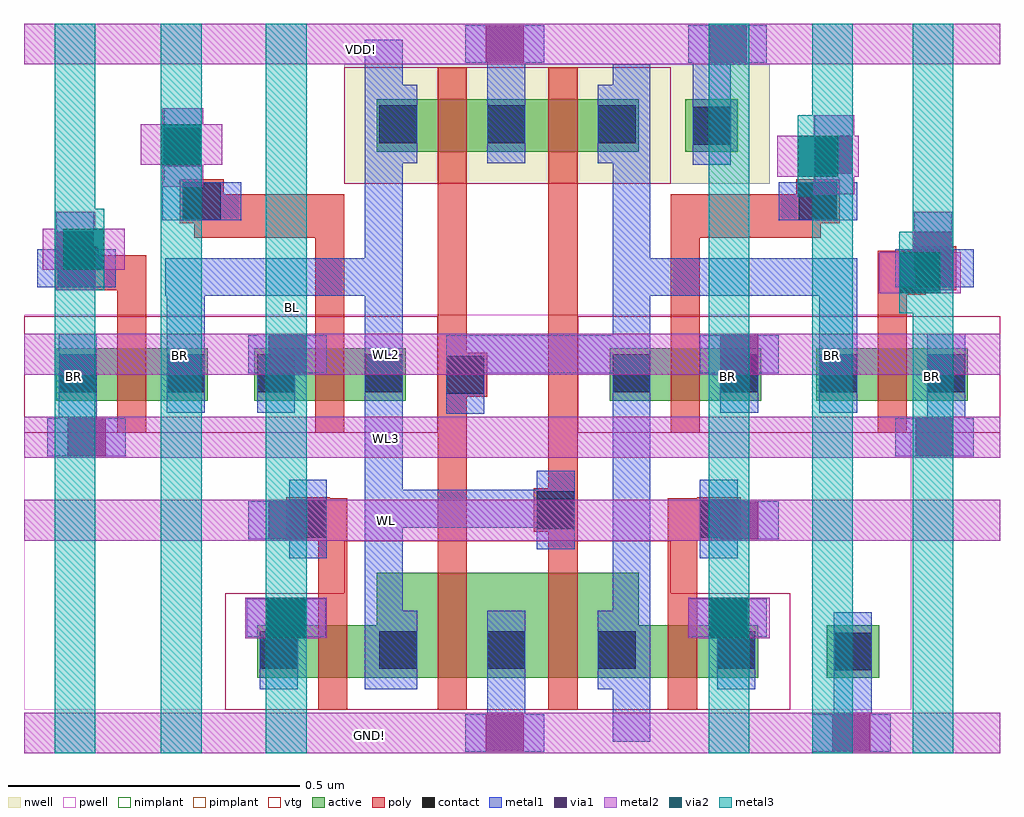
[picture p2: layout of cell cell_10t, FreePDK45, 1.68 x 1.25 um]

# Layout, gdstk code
from math import pi, radians
import gdstk
lib = gdstk.Library(unit=1e-6, precision=5e-10)
def R(c, l, rs):  # rectangles x0, y0, x1, y1
    for r in rs: c.add(gdstk.rectangle(r[:2], r[2:], *l))
def A(c, l, x, y, w, h, nx, ny, dx, dy):  # array of equal rectangles
    R(c, l, [(x+i*dx, y+j*dy, x+i*dx+w, y+j*dy+h) for i in range(nx) for j in range(ny)])
active = (1, 0)
pwell = (2, 0)
nwell = (3, 0)
nimplant = (4, 0)
pimplant = (5, 0)
vtg = (6, 0)
poly = (9, 0)
contact = (10, 0)
metal1 = (11, 0)
via1 = (12, 0)
metal2 = (13, 0)
via2 = (14, 0)
metal3 = (15, 0)

dcont_25 = lib.new_cell('dcont_25')
R(dcont_25, active, [(-0.0375,0.03,0.0375,0.105)])
R(dcont_25, contact, [(-0.0325,0.035,0.0325,0.1)])
R(dcont_25, metal1, [(-0.0325,0,0.0325,0.135)])

pmos_vtg_13 = lib.new_cell('pmos_vtg_13')
R(pmos_vtg_13, active, [(-0.07,0,0.155,0.09), (-0.07,0,0,0.09), (0.08,0,0.155,0.09), (0.08,0.01,0.155,0.085)])
R(pmos_vtg_13, nwell, [(-0.125,-0.055,0.21,0.145)])
R(pmos_vtg_13, pimplant, [(-0.07,0,0.155,0.09)])
R(pmos_vtg_13, vtg, [(-0.125,-0.055,0.21,0.145)])
R(pmos_vtg_13, poly, [(0,-0.055,0.05,0), (0,-0.055,0.05,0.145), (0,0.09,0.05,0.145)])
pmos_vtg_13.add(gdstk.Reference(dcont_25, (0.1175,-0.02)))
pmos_vtg_13.add(gdstk.Label('l = 0.05', (0.06,0.045), layer=239, texttype=0))
pmos_vtg_13.add(gdstk.Label('w = 0.09', (0.025,0.155), layer=239, texttype=0))

nmos_vtg_24 = lib.new_cell('nmos_vtg_24')
R(nmos_vtg_24, active, [(-0.105,0,0.155,0.09), (-0.105,0,-0.03,0.09), (0.08,0,0.155,0.09), (-0.105,0.01,-0.03,0.085), (0.08,0.01,0.155,0.085)])
R(nmos_vtg_24, pwell, [(-0.16,-0.055,0.21,0.145)])
R(nmos_vtg_24, nimplant, [(-0.105,0,0.155,0.09)])
R(nmos_vtg_24, vtg, [(-0.16,-0.055,0.21,0.145)])
R(nmos_vtg_24, poly, [(0,-0.055,0.05,0), (0,-0.055,0.05,0.145), (0,0.09,0.05,0.145)])
nmos_vtg_24.add(gdstk.Reference(dcont_25, (0.1175,-0.02)))
nmos_vtg_24.add(gdstk.Reference(dcont_25, (-0.0675,-0.02)))
nmos_vtg_24.add(gdstk.Label('l = 0.05', (0.06,0.045), layer=239, texttype=0))
nmos_vtg_24.add(gdstk.Label('w = 0.09', (0.025,0.155), layer=239, texttype=0))

nmos_vtg_14 = lib.new_cell('nmos_vtg_14')
R(nmos_vtg_14, active, [(-0.07,0,0.155,0.09), (-0.07,0,0,0.09), (0.08,0,0.155,0.09), (0.08,0.01,0.155,0.085)])
R(nmos_vtg_14, pwell, [(-0.125,-0.055,0.21,0.145)])
R(nmos_vtg_14, nimplant, [(-0.07,0,0.155,0.09)])
R(nmos_vtg_14, vtg, [(-0.125,-0.055,0.21,0.145)])
R(nmos_vtg_14, poly, [(0,-0.055,0.05,0), (0,-0.055,0.05,0.145), (0,0.09,0.05,0.145)])
nmos_vtg_14.add(gdstk.Reference(dcont_25, (0.1175,-0.02)))
nmos_vtg_14.add(gdstk.Label('l = 0.05', (0.06,0.045), layer=239, texttype=0))
nmos_vtg_14.add(gdstk.Label('w = 0.09', (0.025,0.155), layer=239, texttype=0))

nmos_vtg_15 = lib.new_cell('nmos_vtg_15')
R(nmos_vtg_15, active, [(-0.07,0,0.155,0.18), (-0.07,0,0,0.18), (0.08,0,0.155,0.18), (0.08,0.01,0.155,0.085)])
R(nmos_vtg_15, pwell, [(-0.125,-0.055,0.21,0.235)])
R(nmos_vtg_15, nimplant, [(-0.07,0,0.155,0.18)])
R(nmos_vtg_15, vtg, [(-0.125,-0.055,0.21,0.235)])
R(nmos_vtg_15, poly, [(0,-0.055,0.05,0), (0,-0.055,0.05,0.235), (0,0.18,0.05,0.235)])
nmos_vtg_15.add(gdstk.Reference(dcont_25, (0.1175,-0.02)))
nmos_vtg_15.add(gdstk.Label('l = 0.05', (0.06,0.09), layer=239, texttype=0))
nmos_vtg_15.add(gdstk.Label('w = 0.18', (0.025,0.245), layer=239, texttype=0))

pcont_2 = lib.new_cell('pcont_2')
R(pcont_2, poly, [(-0.0375,-0.0375,0.0375,0.0375)])
R(pcont_2, contact, [(-0.0325,-0.0325,0.0325,0.0325)])
R(pcont_2, metal1, [(-0.0325,-0.0675,0.0325,0.0675)])

m2_m1_viab = lib.new_cell('M2_M1_viaB')
R(m2_m1_viab, metal1, [(-0.0675,-0.0325,0.0675,0.0325)])
R(m2_m1_viab, via1, [(-0.0325,-0.0325,0.0325,0.0325)])
R(m2_m1_viab, metal2, [(-0.0675,-0.035,0.0675,0.035)])

nmos_vtg_3 = lib.new_cell('nmos_vtg_3')
R(nmos_vtg_3, active, [(-0.105,0,0.155,0.18), (-0.105,0,-0.03,0.18), (0.08,0,0.155,0.18), (-0.105,0.01,-0.03,0.085), (0.08,0.01,0.155,0.085)])
R(nmos_vtg_3, pwell, [(-0.16,-0.055,0.21,0.235)])
R(nmos_vtg_3, nimplant, [(-0.105,0,0.155,0.18)])
R(nmos_vtg_3, vtg, [(-0.16,-0.055,0.21,0.235)])
R(nmos_vtg_3, poly, [(0,-0.055,0.05,0), (0,-0.055,0.05,0.235), (0,0.18,0.05,0.235)])
nmos_vtg_3.add(gdstk.Reference(dcont_25, (0.1175,-0.02)))
nmos_vtg_3.add(gdstk.Reference(dcont_25, (-0.0675,-0.02)))
nmos_vtg_3.add(gdstk.Label('l = 0.05', (0.06,0.09), layer=239, texttype=0))
nmos_vtg_3.add(gdstk.Label('w = 0.18', (0.025,0.245), layer=239, texttype=0))

m3_m2_via = lib.new_cell('M3_M2_via')
R(m3_m2_via, metal2, [(-0.035,-0.07,0.035,0.07)])
R(m3_m2_via, via2, [(-0.035,-0.035,0.035,0.035)])
R(m3_m2_via, metal3, [(-0.07,-0.035,0.07,0.035)])

nmos_vtg_16 = lib.new_cell('nmos_vtg_16')
R(nmos_vtg_16, active, [(-0.105,0,0.12,0.09), (-0.105,0,-0.03,0.09), (0.05,0,0.12,0.09), (-0.105,0.01,-0.03,0.085)])
R(nmos_vtg_16, pwell, [(-0.16,-0.055,0.175,0.145)])
R(nmos_vtg_16, nimplant, [(-0.105,0,0.12,0.09)])
R(nmos_vtg_16, vtg, [(-0.16,-0.055,0.175,0.145)])
R(nmos_vtg_16, poly, [(0,-0.055,0.05,0), (0,-0.055,0.05,0.145), (0,0.09,0.05,0.145)])
nmos_vtg_16.add(gdstk.Reference(dcont_25, (-0.0675,-0.02)))
nmos_vtg_16.add(gdstk.Label('l = 0.05', (0.06,0.045), layer=239, texttype=0))
nmos_vtg_16.add(gdstk.Label('w = 0.09', (0.025,0.155), layer=239, texttype=0))

pmos_vtg_17 = lib.new_cell('pmos_vtg_17')
R(pmos_vtg_17, active, [(-0.105,0,0.155,0.09), (-0.105,0,-0.03,0.09), (0.08,0,0.155,0.09), (-0.105,0.01,-0.03,0.085), (0.08,0.01,0.155,0.085)])
R(pmos_vtg_17, nwell, [(-0.16,-0.055,0.21,0.145)])
R(pmos_vtg_17, pimplant, [(-0.105,0,0.155,0.09)])
R(pmos_vtg_17, vtg, [(-0.16,-0.055,0.21,0.145)])
R(pmos_vtg_17, poly, [(0,-0.055,0.05,0), (0,-0.055,0.05,0.145), (0,0.09,0.05,0.145)])
pmos_vtg_17.add(gdstk.Reference(dcont_25, (0.1175,-0.02)))
pmos_vtg_17.add(gdstk.Reference(dcont_25, (-0.0675,-0.02)))
pmos_vtg_17.add(gdstk.Label('l = 0.05', (0.06,0.045), layer=239, texttype=0))
pmos_vtg_17.add(gdstk.Label('w = 0.09', (0.025,0.155), layer=239, texttype=0))

nmos_vtg_5 = lib.new_cell('nmos_vtg_5')
R(nmos_vtg_5, active, [(-0.105,0,0.155,0.09), (-0.105,0,-0.03,0.09), (0.08,0,0.155,0.09), (-0.105,0.01,-0.03,0.085), (0.08,0.01,0.155,0.085)])
R(nmos_vtg_5, pwell, [(-0.16,-0.055,0.21,0.145)])
R(nmos_vtg_5, nimplant, [(-0.105,0,0.155,0.09)])
R(nmos_vtg_5, vtg, [(-0.16,-0.055,0.21,0.145)])
R(nmos_vtg_5, poly, [(0,-0.055,0.05,0), (0,-0.055,0.05,0.145), (0,0.09,0.05,0.145)])
nmos_vtg_5.add(gdstk.Reference(dcont_25, (0.1175,-0.02)))
nmos_vtg_5.add(gdstk.Reference(dcont_25, (-0.0675,-0.02)))
nmos_vtg_5.add(gdstk.Label('l = 0.05', (0.06,0.045), layer=239, texttype=0))
nmos_vtg_5.add(gdstk.Label('w = 0.09', (0.025,0.155), layer=239, texttype=0))

ntap_1 = lib.new_cell('NTAP_1')
R(ntap_1, active, [(-0.045,-0.045,0.045,0.045)])
R(ntap_1, nwell, [(-0.1,-0.1,0.1,0.1)])
R(ntap_1, nimplant, [(-0.045,-0.045,0.045,0.045)])
R(ntap_1, contact, [(-0.0325,-0.0325,0.0325,0.0325)])
R(ntap_1, metal1, [(-0.0325,-0.0675,0.0325,0.0675)])

ptap_0 = lib.new_cell('PTAP_0')
R(ptap_0, active, [(-0.045,-0.045,0.045,0.045)])
R(ptap_0, pwell, [(-0.1,-0.1,0.1,0.1)])
R(ptap_0, pimplant, [(-0.045,-0.045,0.045,0.045)])
R(ptap_0, contact, [(-0.0325,-0.0325,0.0325,0.0325)])
R(ptap_0, metal1, [(-0.0325,-0.0675,0.0325,0.0675)])

cell_10t = lib.new_cell('cell_10t')
R(cell_10t, pwell, [(0,0.04,1.5225,0.7175)])
R(cell_10t, nwell, [(0.55,0.9425,1.28,1.1475)])
R(cell_10t, poly, [(0.505,0.23,0.555,0.4025), (0.9,0.23,0.95,0.4025), (1.105,0.23,1.155,0.4025), (0.71,0.3025,0.76,1.1), (0.9,0.3075,0.95,1.0975), (0.16,0.6475,0.21,0.82), (1.465,0.6475,1.515,0.82), (0.5,0.7,0.55,0.925), (1.11,0.7,1.16,0.925), (1.465,0.7525,1.5475,0.8275), (0.1,0.76,0.21,0.82), (0.2925,0.85,0.55,0.925), (1.11,0.85,1.3675,0.925)])
R(cell_10t, metal1, [(1.01,-0.015,1.075,1.1475), (0.795,0.025,0.86,0.08), (1.39,0.025,1.455,0.08), (0.585,0.075,0.65,1.19), (0.605,0.3525,0.94,0.4175), (0.06,0.49,0.125,0.565), (1.55,0.49,1.615,0.565), (0.7525,0.6175,1.0575,0.6825), (0.245,0.6675,0.31,0.7925), (1.365,0.6675,1.43,0.7925), (0.2425,0.75,0.62,0.815), (1.04,0.75,1.43,0.815), (0.795,0.9775,0.86,1.1575), (1.1475,1.11,1.2125,1.17)])
A(cell_10t, metal2, 0, 0.33, 1.675, 0.07, 1, 3, 0, 0.1425)
R(cell_10t, metal2, [(0,-0.035,1.675,0.035), (0.525,-0.025,0.665,0.02), (0.5575,0.3375,0.675,0.395), (0.5575,0.4775,0.675,0.535), (0.5575,0.6225,0.675,0.68), (0,1.1475,1.675,1.2175), (0.5125,1.15,0.6525,1.1975)])
R(cell_10t, metal3, [(0.0525,-0.035,0.1225,1.2175), (0.235,-0.035,0.305,1.2175), (0.415,-0.035,0.485,1.2175), (1.175,-0.035,1.245,1.2175), (1.3525,-0.035,1.4225,1.2175), (1.525,-0.035,1.595,1.2175), (0.06,0.4975,0.115,1.09), (1.1825,0.4975,1.2375,1.09), (1.5325,0.4975,1.5875,1.09), (0.2425,0.5175,0.2975,1.115), (1.36,0.5175,1.415,1.115), (0.4325,0.655,0.4775,1.1825)])
cell_10t.add(gdstk.Reference(pmos_vtg_13, (0.9,0.9975)))
cell_10t.add(gdstk.Reference(nmos_vtg_24, (1.465,0.57)))
cell_10t.add(gdstk.Reference(nmos_vtg_24, (1.11,0.57)))
cell_10t.add(gdstk.Reference(nmos_vtg_14, (1.105,0.095)))
cell_10t.add(gdstk.Reference(nmos_vtg_15, (0.9,0.095)))
cell_10t.add(gdstk.Reference(pcont_2, (0.09,0.7975), rotation=3*pi/2))
cell_10t.add(gdstk.Reference(pcont_2, (1.5625,0.7975), rotation=3*pi/2))
cell_10t.add(gdstk.Reference(pcont_2, (1.3625,0.9125), rotation=3*pi/2))
cell_10t.add(gdstk.Reference(pcont_2, (0.305,0.9125), rotation=3*pi/2))
cell_10t.add(gdstk.Reference(pcont_2, (1.1925,0.3675), rotation=pi, x_reflection=True))
cell_10t.add(gdstk.Reference(pcont_2, (0.7575,0.615)))
cell_10t.add(gdstk.Reference(pcont_2, (0.9125,0.3825)))
cell_10t.add(gdstk.Reference(pcont_2, (0.4875,0.3675)))
cell_10t.add(gdstk.Reference(m2_m1_viab, (0.0875,0.8275), rotation=3*pi/2, x_reflection=True))
cell_10t.add(gdstk.Reference(m2_m1_viab, (0.2725,1.005), rotation=3*pi/2, x_reflection=True))
cell_10t.add(gdstk.Reference(m2_m1_viab, (1.5625,0.5075)))
cell_10t.add(gdstk.Reference(m2_m1_viab, (0.1075,0.5075)))
cell_10t.add(gdstk.Reference(m2_m1_viab, (1.56,0.8275), rotation=3*pi/2, x_reflection=True))
cell_10t.add(gdstk.Reference(m2_m1_viab, (1.39,0.9925), rotation=3*pi/2, x_reflection=True))
cell_10t.add(gdstk.Reference(m2_m1_viab, (1.2275,0.65), rotation=pi, x_reflection=True))
cell_10t.add(gdstk.Reference(m2_m1_viab, (0.4525,0.65)))
cell_10t.add(gdstk.Reference(m2_m1_viab, (1.42,0)))
cell_10t.add(gdstk.Reference(m2_m1_viab, (1.2075,1.1825)))
cell_10t.add(gdstk.Reference(m2_m1_viab, (1.2075,0.1975)))
cell_10t.add(gdstk.Reference(m2_m1_viab, (0.45,0.1975)))
cell_10t.add(gdstk.Reference(m2_m1_viab, (1.2275,0.365), rotation=pi, x_reflection=True))
cell_10t.add(gdstk.Reference(m2_m1_viab, (0.825,0)))
cell_10t.add(gdstk.Reference(m2_m1_viab, (0.825,1.1825)))
cell_10t.add(gdstk.Reference(m2_m1_viab, (0.4525,0.365)))
cell_10t.add(gdstk.Reference(nmos_vtg_3, (0.71,0.095)))
cell_10t.add(gdstk.Reference(m3_m2_via, (0.1025,0.83), rotation=pi/2))
cell_10t.add(gdstk.Reference(m3_m2_via, (1.3625,0.99), rotation=pi/2))
cell_10t.add(gdstk.Reference(m3_m2_via, (1.5375,0.79), rotation=pi/2))
cell_10t.add(gdstk.Reference(m3_m2_via, (0.27,1.01), rotation=pi/2))
cell_10t.add(gdstk.Reference(m3_m2_via, (1.21,0.1975), rotation=pi/2))
cell_10t.add(gdstk.Reference(m3_m2_via, (0.45,0.1975), rotation=pi/2))
cell_10t.add(gdstk.Reference(nmos_vtg_16, (0.505,0.095)))
cell_10t.add(gdstk.Reference(nmos_vtg_16, (0.71,0.095)))
cell_10t.add(gdstk.Reference(pmos_vtg_17, (0.71,0.9975)))
cell_10t.add(gdstk.Reference(nmos_vtg_5, (0.16,0.57)))
cell_10t.add(gdstk.Reference(nmos_vtg_5, (0.5,0.57)))
cell_10t.add(gdstk.Reference(ntap_1, (1.18,1.0425)))
cell_10t.add(gdstk.Reference(ptap_0, (1.4225,0.14)))
cell_10t.add(gdstk.Label('WL2', (0.6225,0.65), layer=13, texttype=0))
cell_10t.add(gdstk.Label('WL3', (0.6225,0.505), layer=13, texttype=0))
cell_10t.add(gdstk.Label('WL', (0.6225,0.365), layer=13, texttype=0))
cell_10t.add(gdstk.Label('GND!', (0.5925,-0.005), layer=13, texttype=0))
cell_10t.add(gdstk.Label('VDD!', (0.58,1.1725), layer=13, texttype=0))
cell_10t.add(gdstk.Label('BR', (0.085,0.6125), layer=15, texttype=0))
cell_10t.add(gdstk.Label('BR', (0.2675,0.6475), layer=15, texttype=0))
cell_10t.add(gdstk.Label('BR', (1.5575,0.6125), layer=15, texttype=0))
cell_10t.add(gdstk.Label('BR', (1.385,0.6475), layer=15, texttype=0))
cell_10t.add(gdstk.Label('BR', (1.2075,0.6125), layer=15, texttype=0))
cell_10t.add(gdstk.Label('BL', (0.46,0.73), layer=15, texttype=0))

lib.write_gds('cell_10t.gds')
